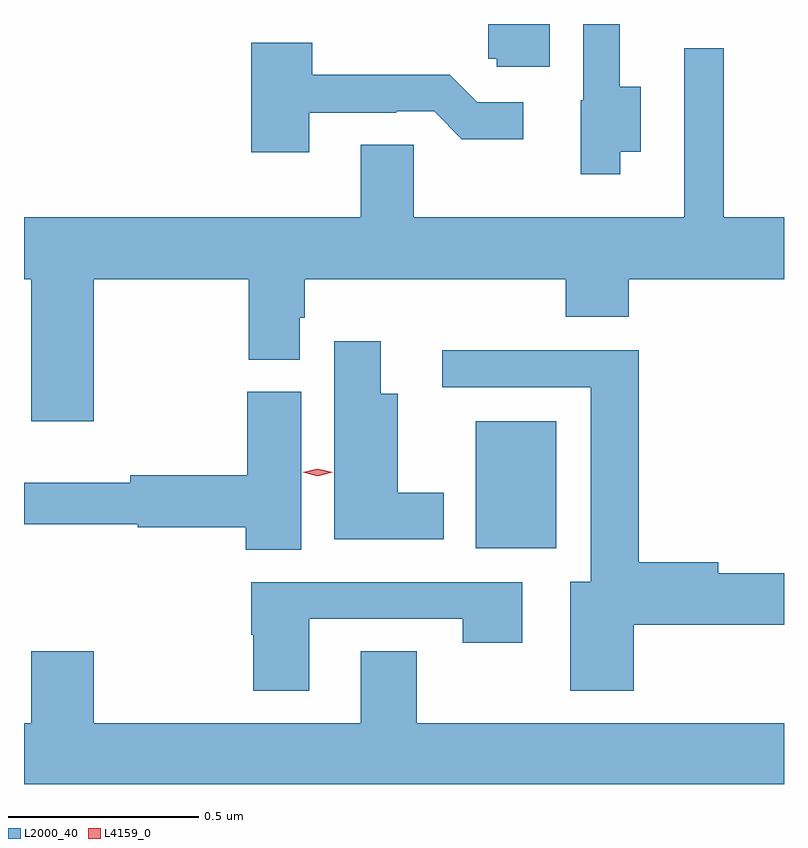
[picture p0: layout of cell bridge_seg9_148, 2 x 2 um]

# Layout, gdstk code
import gdstk
lib = gdstk.Library(unit=1e-6, precision=1e-09)
def R(c, l, rs):  # rectangles x0, y0, x1, y1
    for r in rs: c.add(gdstk.rectangle(r[:2], r[2:], *l))
def P(c, l, *ps):  # polygons
    for p in ps: c.add(gdstk.Polygon(p, *l))
L2000_40 = (2000, 40)
L4159_0 = (4159, 0)

bridge_seg9_148 = lib.new_cell('bridge_seg9_148')
R(bridge_seg9_148, L2000_40, [(609.734,1185.056,609.946,1185.391)])
P(bridge_seg9_148, L2000_40, [(609.928,1186.436),(609.767,1186.436),(609.767,1186.344),(609.789,1186.344),(609.789,1186.323),(609.928,1186.323)],
  [(610.114,1186.1),(610.168,1186.1),(610.168,1186.271),(610.113,1186.271),(610.113,1186.436),(610.017,1186.436),(610.017,1186.236),(610.01,1186.236),(610.01,1186.04),(610.114,1186.04)],
  [(609.295,1186.203),(609.524,1186.203),(609.524,1186.206),(609.624,1186.206),(609.697,1186.133),(609.859,1186.133),(609.859,1186.23),(609.738,1186.23),(609.665,1186.303),(609.303,1186.303),(609.303,1186.387),(609.143,1186.387),(609.143,1186.098),(609.295,1186.098)],
  [(608.728,1185.764),(609.136,1185.764),(609.136,1185.553),(609.271,1185.553),(609.271,1185.663),(609.284,1185.663),(609.284,1185.764),(609.971,1185.764),(609.971,1185.665),(610.136,1185.665),(610.136,1185.764),(610.545,1185.764),(610.545,1185.928),(610.387,1185.928),(610.387,1186.372),(610.283,1186.372),(610.283,1185.928),(609.57,1185.928),(609.57,1186.118),(609.431,1186.118),(609.431,1185.928),(608.545,1185.928),(608.545,1185.764),(608.564,1185.764),(608.564,1185.39),(608.728,1185.39)],
  [(609.649,1185.202),(609.529,1185.202),(609.529,1185.463),(609.484,1185.463),(609.484,1185.601),(609.362,1185.601),(609.362,1185.08),(609.649,1185.08)],
  [(610.15,1184.855),(610.545,1184.855),(610.545,1184.99),(610.372,1184.99),(610.372,1185.019),(610.163,1185.019),(610.163,1185.578),(609.645,1185.578),(609.645,1185.48),(610.037,1185.48),(610.037,1184.968),(609.983,1184.968),(609.983,1184.682),(610.15,1184.682)],
  [(609.274,1185.468),(609.133,1185.468),(609.133,1185.248),(608.824,1185.248),(608.824,1185.229),(608.545,1185.229),(608.545,1185.12),(608.844,1185.12),(608.844,1185.112),(609.128,1185.112),(609.128,1185.052),(609.274,1185.052)],
  [(609.295,1184.871),(609.7,1184.871),(609.7,1184.808),(609.856,1184.808),(609.856,1184.967),(609.143,1184.967),(609.143,1184.829),(609.148,1184.829),(609.148,1184.682),(609.295,1184.682)],
  [(610.545,1184.596),(609.579,1184.596),(609.579,1184.786),(609.431,1184.786),(609.431,1184.596),(608.728,1184.596),(608.728,1184.785),(608.564,1184.785),(608.564,1184.596),(608.545,1184.596),(608.545,1184.436),(610.545,1184.436)])
P(bridge_seg9_148, L4159_0, [(609.318,1185.246),(609.279,1185.256),(609.279,1185.256),(609.279,1185.256),(609.318,1185.266),(609.358,1185.256),(609.358,1185.256),(609.358,1185.256)])

lib.write_gds('bridge_seg9_148.gds')
